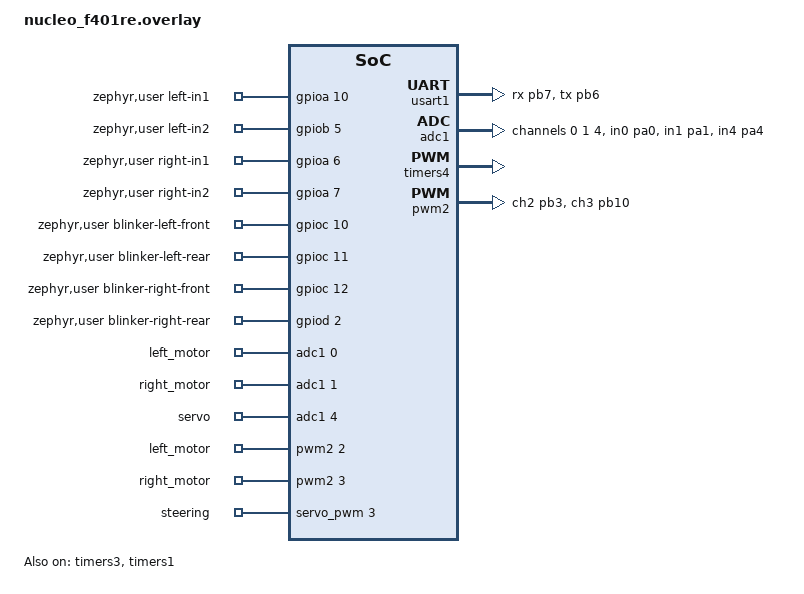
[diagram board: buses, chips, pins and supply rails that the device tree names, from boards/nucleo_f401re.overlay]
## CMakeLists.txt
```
# SPDX-License-Identifier: Apache-2.0

cmake_minimum_required(VERSION 3.28.0)

# Keep the course's programmer choice in source control for clean F401RE builds.
if(BOARD MATCHES "^nucleo_f401re($|/)")
  set(BOARD_FLASH_RUNNER stm32cubeprogrammer CACHE STRING "F401RE flash runner")
endif()

find_package(Zephyr REQUIRED HINTS $ENV{ZEPHYR_BASE})
project(lab2_sensors_actuators)

option(MOTOR_CALIBRATION "Build fixed-duty motor calibration firmware" OFF)
option(SERVO_CALIBRATION "Build manual servo calibration firmware" OFF)

if(MOTOR_CALIBRATION AND SERVO_CALIBRATION)
  message(FATAL_ERROR "Select only one calibration firmware")
endif()

target_sources(app PRIVATE src/motor_driver.c)
if(SERVO_CALIBRATION)
  target_include_directories(app PRIVATE src tools/servo_calibration)
  target_sources(app PRIVATE src/servo_driver.c tools/servo_calibration/servo_calibration.c)
elseif(MOTOR_CALIBRATION)
  target_include_directories(app PRIVATE src tools/motor_calibration)
  target_sources(app PRIVATE src/encoder.c tools/motor_calibration/motor_calibration.c)
else()
  target_sources(app PRIVATE src/encoder.c src/main.c src/motor_control.c src/blinker.c
                             src/status_tx.c src/servo_driver.c src/wheel_buttons.c)
endif()
```

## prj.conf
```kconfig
CONFIG_GPIO=y
CONFIG_SERIAL=y
CONFIG_UART_INTERRUPT_DRIVEN=y
CONFIG_SENSOR=y
CONFIG_PWM=y
CONFIG_MAIN_THREAD_PRIORITY=1
CONFIG_ADC=y

# Drain console output below the control threads instead of polling the UART
# inside cmd_handler. Never block a control thread when the log buffer is full.
CONFIG_LOG=y
CONFIG_LOG_MODE_DEFERRED=y
CONFIG_LOG_PRINTK=y
CONFIG_LOG_BACKEND_UART=y
CONFIG_LOG_BLOCK_IN_THREAD=n
CONFIG_LOG_BUFFER_SIZE=4096
CONFIG_LOG_PROCESS_THREAD_CUSTOM_PRIORITY=y
CONFIG_LOG_PROCESS_THREAD_PRIORITY=5
CONFIG_LOG_PROCESS_THREAD_SLEEP_MS=10
CONFIG_LOG_PROCESS_TRIGGER_THRESHOLD=1
```

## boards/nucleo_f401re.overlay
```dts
#include <zephyr/dt-bindings/adc/adc.h>

/*
 * Nucleo-F401RE overlay
 *
 * USART1 (Pi link) receives on PB7 only. PB6 (D10) drives right motor IN3.
 * USART1 TX can only be PB6 or PA9 on the F401, and PA9 is the right
 * encoder, so the status frame has no TX pin until one of them is freed.
 * Current sensors on ADC1: A0 = PA0 (left motor), A1 = PA1 (right motor),
 * A2 = PA4 (servo).
 * Encoders use two timers in quadrature-decoder mode:
 *   Left  encoder: TIM3, CH1 = PB4 (D5), CH2 = PC7 (D9)
 *   Right encoder: TIM1, CH1 = PA8 (D7), CH2 = PA9 (D8)
 */

/* Keep the Pi link's RX line idle-high when the cable is unplugged. */
&usart1 {
	pinctrl-0 = <&usart1_rx_pb7 &usart1_tx_pb6>;
};

&usart1_rx_pb7 {
	bias-pull-up;
};

&usart1_tx_pb6 {
	bias-pull-up;
};


/* Pull-ups on the encoder inputs, in case the encoder outputs are open-drain. */
&tim3_ch1_pb4 {
	bias-pull-up;
};

&tim3_ch2_pc7 {
	bias-pull-up;
};

&tim1_ch1_pa8 {
	bias-pull-up;
};

&tim1_ch2_pa9 {
	bias-pull-up;
};





&timers3 {
	status = "okay";

	qdec_left: qdec {
		status = "okay";
		pinctrl-0 = <&tim3_ch1_pb4 &tim3_ch2_pc7>;
		pinctrl-names = "default";
		st,encoder-mode = <0x3>;           /* x4: count every edge of A and B */
		st,input-filter-level = <10>;      /* reject glitches shorter than ~1 us */
		st,counts-per-revolution = <1316>; /* measured wheel average 1316.2, rounded */
	};
};

&timers1 {
	status = "okay";

	qdec_right: qdec {
		status = "okay";
		pinctrl-0 = <&tim1_ch1_pa8 &tim1_ch2_pa9>;
		pinctrl-names = "default";
		st,encoder-mode = <0x3>;
		st,input-filter-level = <10>;
		st,counts-per-revolution = <1316>; /* same measured average as left */
	};
};

/* Current sensors. Channel numbers match ADC1_IN0, IN1 and IN4. */
&adc1 {
	pinctrl-0 = <&adc1_in0_pa0 &adc1_in1_pa1 &adc1_in4_pa4>;
	pinctrl-names = "default";
	#address-cells = <1>;
	#size-cells = <0>;

	channel@0 {
		reg = <0>;
		zephyr,gain = "ADC_GAIN_1";
		zephyr,reference = "ADC_REF_INTERNAL";
		zephyr,acquisition-time = <ADC_ACQ_TIME(ADC_ACQ_TIME_TICKS, 84)>;
		zephyr,resolution = <12>;
	};

	channel@1 {
		reg = <1>;
		zephyr,gain = "ADC_GAIN_1";
		zephyr,reference = "ADC_REF_INTERNAL";
		zephyr,acquisition-time = <ADC_ACQ_TIME(ADC_ACQ_TIME_TICKS, 84)>;
		zephyr,resolution = <12>;
	};

	channel@4 {
		reg = <4>;
		zephyr,gain = "ADC_GAIN_1";
		zephyr,reference = "ADC_REF_INTERNAL";
		zephyr,acquisition-time = <ADC_ACQ_TIME(ADC_ACQ_TIME_TICKS, 84)>;
		zephyr,resolution = <12>;
	};
};

/* L298N enables: D3 = TIM2 CH2, D6 = TIM2 CH3. */
/* D15/PB8 is reserved for steering, not the board's default I2C1 clock. */
&i2c1 {
	status = "disabled";
};

&timers4 {
	status = "okay";
	st,prescaler = <83>; /* 84 MHz / 84 = 1 MHz; 20 ms fits 16 bits */
	servo_pwm: pwm {
		status = "okay";
		pinctrl-0 = <&tim4_ch3_pb8>;
		pinctrl-names = "default";
	};
};

&pwm2 {
	pinctrl-0 = <&tim2_ch2_pb3 &tim2_ch3_pb10>;
	pinctrl-names = "default";
};

/* L298N inputs: left D2/D4, right D11/D12. */
/ {
	zephyr,user {
		pwms = <&pwm2 2 PWM_MSEC(1) PWM_POLARITY_NORMAL>,
		       <&pwm2 3 PWM_MSEC(1) PWM_POLARITY_NORMAL>,
		       <&servo_pwm 3 PWM_MSEC(20) PWM_POLARITY_NORMAL>;
		pwm-names = "left_motor", "right_motor", "steering";
		left-in1-gpios = <&gpioa 10 GPIO_ACTIVE_HIGH>;
		left-in2-gpios = <&gpiob 5 GPIO_ACTIVE_HIGH>;
		right-in1-gpios = <&gpioa 6 GPIO_ACTIVE_HIGH>;
		right-in2-gpios = <&gpioa 7 GPIO_ACTIVE_HIGH>;
		/* Current sensors, in the order status_tx.c reports them. */
		io-channels = <&adc1 0>, <&adc1 1>, <&adc1 4>;
		io-channel-names = "left_motor", "right_motor", "servo";
		/* TODO: after confirming four unused wired pins, add all four: */
		blinker-left-front-gpios = <&gpioc 10 GPIO_ACTIVE_HIGH>;
		blinker-left-rear-gpios = <&gpioc 11 GPIO_ACTIVE_HIGH>;
		blinker-right-front-gpios = <&gpioc 12 GPIO_ACTIVE_HIGH>;
		blinker-right-rear-gpios = <&gpiod 2 GPIO_ACTIVE_HIGH>;
	};
};
```

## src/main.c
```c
#include <zephyr/kernel.h>
#include <string.h>
#include <zephyr/device.h>
#include <zephyr/drivers/uart.h>
#include <zephyr/sys/atomic.h>
#include <zephyr/sys/byteorder.h>

#include "blinker.h"
#include "config.h"
#include "crc8_checksum.h"
#include "motor_control.h"
#include "servo_driver.h"
#include "status_tx.h"
#include "wheel_buttons.h"

#define UART_DEVICE_NODE DT_NODELABEL(usart1)

/* One-slot queue: the newest complete command frame from the UART ISR. */
struct received_frame {
	int64_t received_ms;
	uint8_t data[FRAME_LEN];
};
K_MSGQ_DEFINE(frame_queue, sizeof(struct received_frame), UART_RX_QUEUE_DEPTH,
	      UART_RX_QUEUE_ALIGNMENT);
/* Serialize command outputs with fail-safe so timeout cannot be undone halfway
 * through applying a command. Motor priority 0 can still preempt both paths. */
K_MUTEX_DEFINE(command_lock);
static int64_t link_deadline_ms;
static uint8_t link_miss_count; /* 0..LINK_MISS_LIMIT; guarded by command_lock */
BUILD_ASSERT(LINK_MISS_INTERVAL_MS > 0);
BUILD_ASSERT(LINK_MISS_LIMIT > 0 && LINK_MISS_LIMIT <= UINT8_MAX);

/* Count elapsed intervals, not semaphore wakes: wakes may coalesce or belong
 * to an earlier command. Clamp before narrowing so the counter never wraps. */
static uint8_t link_misses_at(int64_t now_ms, int64_t deadline_ms)
{
	int64_t elapsed = now_ms - (deadline_ms - LINK_TIMEOUT_MS);
	return (uint8_t)CLAMP(elapsed / LINK_MISS_INTERVAL_MS, 0, LINK_MISS_LIMIT);
}
static const struct device *const uart_device = DEVICE_DT_GET(UART_DEVICE_NODE);

/* True while valid commands are arriving. Set by cmd_handler; cleared by
 * enter_error_state() from cmd_handler or fail_safe. */
static atomic_t link_ok = ATOMIC_INIT(0);   /* power up in the error state */

/* Decoded command from the Pi. */
struct pi_command {
	int16_t steer;
	int16_t throttle;
	int16_t brake;
	uint8_t buttons;
	uint8_t seq;
};

enum frame_result {
	FRAME_OK,
	FRAME_BAD_CRC,
	FRAME_OUT_OF_RANGE,
};

#define CHECK_INPUT_CLAMP(name) \
	BUILD_ASSERT(name##_CLAMP_MIN >= name##_RAW_MIN && \
		     name##_CLAMP_MAX <= name##_RAW_MAX && \
		     name##_CLAMP_MIN <= name##_CLAMP_MAX)
CHECK_INPUT_CLAMP(STEER);
CHECK_INPUT_CLAMP(THROTTLE);
CHECK_INPUT_CLAMP(BRAKE);
BUILD_ASSERT(THROTTLE_CLAMP_MIN <= THROTTLE_RAW_REST &&
	     THROTTLE_CLAMP_MAX >= THROTTLE_RAW_REST,
	     "Throttle clamp must include released pedal; otherwise release commands drive");
BUILD_ASSERT(INPUT_CLAMP_REPORT_MS > 0);

static uint8_t clamp_inputs(struct pi_command *command)
{
	struct pi_command raw = *command;
	command->steer = CLAMP(raw.steer, STEER_CLAMP_MIN, STEER_CLAMP_MAX);
	command->throttle = CLAMP(raw.throttle, THROTTLE_CLAMP_MIN, THROTTLE_CLAMP_MAX);
	command->brake = CLAMP(raw.brake, BRAKE_CLAMP_MIN, BRAKE_CLAMP_MAX);
	return (raw.steer != command->steer ? 1 : 0) |
	       (raw.throttle != command->throttle ? 2 : 0) |
	       (raw.brake != command->brake ? 4 : 0);
}

static void report_input_clamps(const struct pi_command *raw,
				const struct pi_command *applied, uint8_t mask)
{
	if (mask & 1) {
		printk("CLAMP: steering out of range: received=%d applied=%d allowed=[%d,%d]\n",
		       raw->steer, applied->steer, STEER_CLAMP_MIN, STEER_CLAMP_MAX);
	}
	if (mask & 2) {
		printk("CLAMP: throttle out of range: received=%d applied=%d allowed=[%d,%d]\n",
		       raw->throttle, applied->throttle, THROTTLE_CLAMP_MIN, THROTTLE_CLAMP_MAX);
	}
	if (mask & 4) {
		printk("CLAMP: brake out of range: received=%d applied=%d allowed=[%d,%d]\n",
		       raw->brake, applied->brake, BRAKE_CLAMP_MIN, BRAKE_CLAMP_MAX);
	}
}

/* Byte positions after the 4-byte header (SOF, ID_HI, ID_LO, DLC). */
enum {
	POS_STEER = 4,
	POS_THROTTLE = 6,
	POS_BRAKE = 8,
	POS_BUTTONS = 10,
	POS_SEQ = 11,
	POS_CRC = 12,
};

/* ---------------------------------------------------------------------------
 * Link watchdog (step 2)
 *
 * link_timer checks each missed interval from the reception timestamp of
 * each valid command. LINK_MISS_LIMIT consecutive misses trigger fail-safe.
 * The expiry function runs in interrupt
 * context, so it only gives a semaphore; fail_safe does the work.
 * ------------------------------------------------------------------------- */
K_SEM_DEFINE(failsafe_sem, 0, 1);

static void link_timer_expiry(struct k_timer *timer)
{
	ARG_UNUSED(timer);
	k_sem_give(&failsafe_sem);
}

K_TIMER_DEFINE(link_timer, link_timer_expiry, NULL);

/* Hazard-state outputs: the motor thread brakes on an invalid command,
 * steering PWM stops, hazards flash, and the status frame reports the error. */
static void apply_hazard_outputs(void)
{
	motor_control_submit((struct motor_command){0});   /* valid = false: brake */
	if (servo_driver_disable() != 0) {
		printk("ERROR: could not disable steering PWM\n");
	}
	blinker_set_mode(BLINKER_HAZARD);
	status_tx_set_zone_state(ZONE_STATE_ERROR);
}

/* Fail-safe: hazard outputs and link marked down. Returns true if the system
 * was in normal operation before this call. */
static bool enter_error_state(void)
{
	bool was_ok = atomic_clear(&link_ok) != 0;
	k_timer_stop(&link_timer);

	apply_hazard_outputs();
	return was_ok;
}

/* ---------------------------------------------------------------------------
 * Wheel buttons (Pi byte 10). Used only by cmd_handler.
 * ------------------------------------------------------------------------- */
static bool self_test;
static int64_t self_test_press_ms;   /* last press while in self-test; -1 = none */

/* A press enters self-test. Once in, two presses within
 * SELF_TEST_EXIT_WINDOW_MS exit; the entering press does not count. */
static void update_self_test(bool pressed)
{
	if (!pressed) {
		return;
	}

	int64_t now = k_uptime_get();

	if (!self_test) {
		self_test = true;
		self_test_press_ms = -1;
		apply_hazard_outputs();
		printk("SELF-TEST: hazards on, dynamic braking\n");
	} else if (self_test_press_ms >= 0 &&
		   now - self_test_press_ms <= SELF_TEST_EXIT_WINDOW_MS) {
		self_test = false;
		printk("SELF-TEST exit\n");
	} else {
		self_test_press_ms = now;
	}
}

/* UART ISR callback: assemble 13-byte command frames and push each complete
 * frame to frame_queue (newest wins). Header checks only; the CRC and value
 * checks run in cmd_handler. */
static void get_uart_frame(const struct device *device, void *user_data) {
	ARG_UNUSED(user_data);

	static uint8_t frame[FRAME_LEN];
	uint8_t c;
	static int n = 0;   /* bytes stored in the current frame */

	// start processing interrupt
	uart_irq_update(device);
	// Check if there are bytes in the receiving buffer
	if (uart_irq_rx_ready(device) <= 0) {
		return;
	}

	// Move bytes from buffer to frame
	while (uart_fifo_read(device, &c, 1) == 1) {
		if (n == 0 && c != UART_SOF) continue;
		frame[n++] = c;
		/* n was just incremented, so n == 2 checks frame[1], and so on. */
		if ((n == 2 && c != CMD_ID_HI) || (n == 3 && c != CMD_ID_LO) ||
		    (n == 4 && c != CMD_DLC)) {
			n = (c == UART_SOF) ? (frame[0] = c, 1) : 0;
			continue;
		}
		if (n == FRAME_LEN) {
			/* Keep only the newest frame: drop one cmd_handler has not taken. */
			if (k_msgq_num_free_get(&frame_queue) == 0) {
				struct received_frame discard;
				k_msgq_get(&frame_queue, &discard, K_NO_WAIT);
			}
			/* Cannot fail: the slot is free and no thread runs inside an ISR. */
			struct received_frame received = { .received_ms = k_uptime_get() };
			memcpy(received.data, frame, FRAME_LEN);
			(void)k_msgq_put(&frame_queue, &received, K_NO_WAIT);
			n = 0;
		}
	}
}

/* Helper fxn for cmd_handler thread. The ISR already checked the header. */
static enum frame_result parse_frame(const uint8_t f[FRAME_LEN], struct pi_command *out) {
	/* CRC covers bytes 1 to 11 (ID through SEQ), same as the Pi. */
	if (crc8(&f[1], FRAME_LEN - 2) != f[POS_CRC]) {
		return FRAME_BAD_CRC;
	}

	out->steer    = (int16_t)sys_get_le16(&f[POS_STEER]);
	out->throttle = (int16_t)sys_get_le16(&f[POS_THROTTLE]);
	out->brake    = (int16_t)sys_get_le16(&f[POS_BRAKE]);
	out->buttons  = f[POS_BUTTONS];
	out->seq      = f[POS_SEQ];

	if ((out->steer < STEER_RAW_MIN || out->steer > STEER_RAW_MAX) ||
		(out->throttle < THROTTLE_RAW_MIN || out->throttle > THROTTLE_RAW_MAX) ||
	    (out->brake < BRAKE_RAW_MIN || out->brake > BRAKE_RAW_MAX)) {
		return FRAME_OUT_OF_RANGE;
	}

	return FRAME_OK;
}

/* cmd_handler: one run per frame from the Pi (sporadic, deadline 2 ms). */
static void cmd_handler_entry(void *p1, void *p2, void *p3) {
	ARG_UNUSED(p1);
	ARG_UNUSED(p2);
	ARG_UNUSED(p3);

	int64_t last_print_ms = 0;
	int64_t last_clamp_report_ms = 0;
	uint8_t previous_clamp_mask = 0;
	uint32_t n_valid = 0, n_bad = 0;
	struct received_frame received;
	struct wheel_buttons buttons = {0};
	struct pi_command pi_cmd;

	while (1) {
		/* Sleep until the ISR delivers a frame. Link loss is detected by
		 * link_timer, so no timeout is needed here. */
		k_msgq_get(&frame_queue, &received, K_FOREVER);

		enum frame_result r = parse_frame(received.data, &pi_cmd);

		if (r == FRAME_BAD_CRC) {
			/* Corrupted on the wire: drop and count. A dead link is
			 * caught by link_timer, not by one bad frame. */
			n_bad++;
			continue;
		}
		/* Reject protocol-invalid values before any operational clamping. */
		struct pi_command raw_command = pi_cmd;
		uint8_t clamp_mask = r == FRAME_OK ? clamp_inputs(&pi_cmd) : 0;

		k_mutex_lock(&command_lock, K_FOREVER);
		int64_t deadline_ms = received.received_ms + LINK_TIMEOUT_MS;
		if (k_uptime_get() >= deadline_ms) {
			/* An old queued frame must never restart the watchdog or outputs. */
			n_bad++;
			k_timer_stop(&link_timer);
			enter_error_state();
			k_mutex_unlock(&command_lock);
			continue;
		}
		if (!atomic_get(&link_ok)) {
			/* Do not combine self-test exit clicks across a lost link. */
			self_test_press_ms = -1;
		}

		/* Debounced press edges for all three wheel buttons. */
		uint8_t pressed = 0;
		bool exited_self_test = false;

		if (r == FRAME_OK) {
			bool was_self_test = self_test;

			pressed = wheel_buttons_update(&buttons, pi_cmd.buttons, received.received_ms);
			update_self_test((pressed & BUTTON_SELF_TEST) != 0);
			exited_self_test = was_self_test && !self_test;
		}

		struct motor_command command = {
			.throttle = pi_cmd.throttle,
			.brake = pi_cmd.brake,
			.clutch = 0, /* byte 10 is buttons, not clutch */
			.valid = true,
		};

		/* Out-of-range values mean error state (R3). Short-circuit: a
		 * command that failed parse_frame is never submitted. In self-test
		 * the hazard outputs stay applied, so drive and steering are skipped. */
		if (r == FRAME_OUT_OF_RANGE ||
		    (!self_test && (!motor_control_submit(command) ||
				    servo_driver_set_steering(pi_cmd.steer) != 0))) {
			n_bad++;
			k_timer_stop(&link_timer);   /* already failed; no LINK LOST later */
			if (enter_error_state()) {
				printk("ERROR: invalid command or steering output failure, fail-safe\n");
			}
			k_mutex_unlock(&command_lock);
			continue;
		}

		/* Processing time must not extend the receive-to-fail-safe deadline. */
		int64_t now_ms = k_uptime_get();
		int64_t remaining_ms = deadline_ms - now_ms;
		if (remaining_ms <= 0) {
			k_timer_stop(&link_timer);
			enter_error_state();
			k_mutex_unlock(&command_lock);
			continue;
		}
		link_deadline_ms = deadline_ms;
		/* A fresh command resets the counter. Account for any intervals that
		 * elapsed during processing and align the next tick to reception. */
		link_miss_count = link_misses_at(now_ms, deadline_ms);
		int64_t next_tick_ms = LINK_MISS_INTERVAL_MS -
			(now_ms - received.received_ms) % LINK_MISS_INTERVAL_MS;
		k_timer_start(&link_timer, K_MSEC(next_tick_ms), K_MSEC(LINK_MISS_INTERVAL_MS));
		n_valid++;

		bool link_came_up = !atomic_set(&link_ok, 1);

		if (link_came_up) {
			printk("LINK UP\n");
		}
		if (!self_test) {
			if (link_came_up || exited_self_test) {
				/* Leaving the hazard state: start with no turn signal. */
				blinker_set_mode(BLINKER_OFF);
				status_tx_set_zone_state(ZONE_STATE_NORMAL);
			}
			blinker_update_turn(pressed, pi_cmd.steer);
		}
		k_mutex_unlock(&command_lock);

		/* Report after applying outputs and outside the command mutex. */
		int64_t report_ms = k_uptime_get();
		uint8_t cleared_mask = previous_clamp_mask & ~clamp_mask;
		if (cleared_mask & 1) {
			printk("CLAMP: steering back in range; clamp cleared\n");
		}
		if (cleared_mask & 2) {
			printk("CLAMP: throttle back in range; clamp cleared\n");
		}
		if (cleared_mask & 4) {
			printk("CLAMP: brake back in range; clamp cleared\n");
		}
		if (clamp_mask && (clamp_mask != previous_clamp_mask ||
		    report_ms - last_clamp_report_ms >= INPUT_CLAMP_REPORT_MS)) {
			report_input_clamps(&raw_command, &pi_cmd, clamp_mask);
			last_clamp_report_ms = report_ms;
		}
		previous_clamp_mask = clamp_mask;

		if (n_valid % PRINT_EVERY == 0) {
			printk("steer %6d  thr %6d  brk %6d  buttons %3u  seq %3u  bad %u\n",
			       raw_command.steer, raw_command.throttle, raw_command.brake,
			       (unsigned)pi_cmd.buttons, (unsigned)pi_cmd.seq,
			       (unsigned)n_bad);
		}

		if (k_uptime_get() - last_print_ms >= MAIN_PRINT_PERIOD_MS) {
			struct motor_telemetry telemetry;

			motor_control_get_telemetry(&telemetry);
			last_print_ms = k_uptime_get();
			printk("ENC L %8d %5d rpm | R %8d %5d rpm | target %3d duty %3d%% %s"
			       " | pwm L=%d R=%d\n",
			       (int)telemetry.left_position, (int)telemetry.left_rpm,
			       (int)telemetry.right_position, (int)telemetry.right_rpm,
			       (int)telemetry.target_rpm, (int)telemetry.duty_percent,
			       telemetry.reverse ? "REV" : "FWD",
			       (int)telemetry.left_duty_percent, (int)telemetry.right_duty_percent);
		}
	}
}

/* fail_safe: reception timeout configured by LINK_TIMEOUT_MS. */
static void fail_safe_entry(void *p1, void *p2, void *p3) {
	ARG_UNUSED(p1);
	ARG_UNUSED(p2);
	ARG_UNUSED(p3);

	while (1) {
		k_sem_take(&failsafe_sem, K_FOREVER);
		k_mutex_lock(&command_lock, K_FOREVER);
		/* A newer command may have renewed the deadline after the timer fired. */
		bool lost = false;
		if (atomic_get(&link_ok)) {
			link_miss_count = link_misses_at(k_uptime_get(), link_deadline_ms);
			lost = link_miss_count == LINK_MISS_LIMIT;
		}
		if (lost) {
			enter_error_state();
		}
		k_mutex_unlock(&command_lock);
		if (lost) {
			printk("LINK LOST (%d consecutive %d ms misses; %d ms total)\n",
			       LINK_MISS_LIMIT, LINK_MISS_INTERVAL_MS, LINK_TIMEOUT_MS);
		}
	}
}

K_THREAD_DEFINE(fail_safe_tid, FAIL_SAFE_STACK_SIZE, fail_safe_entry,
		NULL, NULL, NULL, FAIL_SAFE_PRIORITY, 0, 0);
K_THREAD_DEFINE(cmd_handler_tid, CMD_HANDLER_STACK_SIZE, cmd_handler_entry,
		NULL, NULL, NULL, CMD_HANDLER_PRIORITY, 0, CMD_HANDLER_START_DELAY_MS);

int main(void) {
	/* Power-up is an error state until a valid Pi command arrives. */
	blinker_set_mode(BLINKER_HAZARD);

	if (servo_driver_init() != 0) {
		printk("Steering PWM not ready, check overlay\n");
		return 0;
	}

	if (!device_is_ready(uart_device)) {
		printk("USART1 not ready, check overlay\n");
		return 0;
	}

	int ret = uart_irq_callback_user_data_set(uart_device, get_uart_frame, NULL);

	if (ret < 0) {
		printk("Error setting UART callback: %d\n", ret);
		return 0;
	}

	uart_irq_rx_enable(uart_device);
	printk("CRC self-test: 0x%02x (expect 0xf4)\n", crc8((const uint8_t *)"123456789", 9));
	printk("Waiting for commands (link DOWN)\n");

	return 0;
}
```

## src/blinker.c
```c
#include <zephyr/kernel.h>
#include <zephyr/device.h>
#include <zephyr/drivers/gpio.h>

#include "blinker.h"
#include "config.h"

#define BLINKER_NODE DT_PATH(zephyr_user)

/* Fail the build, rather than run without LEDs, if a property is missing or
 * misspelled in the board overlay. */
BUILD_ASSERT(DT_NODE_HAS_PROP(BLINKER_NODE, blinker_left_front_gpios) &&
	     DT_NODE_HAS_PROP(BLINKER_NODE, blinker_left_rear_gpios) &&
	     DT_NODE_HAS_PROP(BLINKER_NODE, blinker_right_front_gpios) &&
	     DT_NODE_HAS_PROP(BLINKER_NODE, blinker_right_rear_gpios),
	     "Define all four blinker-*-gpios properties in the board overlay");

static const struct gpio_dt_spec left_front =
	GPIO_DT_SPEC_GET(BLINKER_NODE, blinker_left_front_gpios);
static const struct gpio_dt_spec left_rear =
	GPIO_DT_SPEC_GET(BLINKER_NODE, blinker_left_rear_gpios);
static const struct gpio_dt_spec right_front =
	GPIO_DT_SPEC_GET(BLINKER_NODE, blinker_right_front_gpios);
static const struct gpio_dt_spec right_rear =
	GPIO_DT_SPEC_GET(BLINKER_NODE, blinker_right_rear_gpios);

static K_MUTEX_DEFINE(state_lock);
static enum blinker_mode requested_mode;
static uint32_t generation;
static bool phase_on;
static bool turn_seen;

enum blinker_mode blinker_get_mode(void)
{
	k_mutex_lock(&state_lock, K_FOREVER);
	enum blinker_mode mode = requested_mode;
	k_mutex_unlock(&state_lock);
	return mode;
}

BUILD_ASSERT(BLINKER_TURN_THRESHOLD > STEER_DEAD_ZONE &&
	     BLINKER_TURN_THRESHOLD <= STEER_RAW_MAX &&
	     BLINKER_TURN_THRESHOLD <= -STEER_RAW_MIN);
K_SEM_DEFINE(blinker_wake, 0, 1);

static void blinker_tick(struct k_timer *timer)
{
	ARG_UNUSED(timer);
	k_sem_give(&blinker_wake);
}

K_TIMER_DEFINE(blinker_timer, blinker_tick, NULL);

/* Caller holds state_lock so fail-safe hazards cannot be overwritten by
 * a cancellation based on an older mode. Timer operations do not wait. */
static void set_mode_locked(enum blinker_mode mode)
{
	if (requested_mode == mode) {
		return;
	}
	requested_mode = mode;
	turn_seen = false;
	generation++;
	phase_on = mode != BLINKER_OFF;
	k_timer_stop(&blinker_timer);
	if (mode != BLINKER_OFF) {
		int32_t half_period = mode == BLINKER_HAZARD ?
			HAZARD_HALF_PERIOD_MS : TURN_HALF_PERIOD_MS;
		k_timer_start(&blinker_timer, K_MSEC(half_period), K_MSEC(half_period));
	}
	k_sem_give(&blinker_wake);
}

void blinker_set_mode(enum blinker_mode mode)
{
	if (mode < BLINKER_OFF || mode > BLINKER_HAZARD) {
		return;
	}
	k_mutex_lock(&state_lock, K_FOREVER);
	set_mode_locked(mode);
	k_mutex_unlock(&state_lock);
}

void blinker_update_turn(uint8_t pressed, int16_t steering)
{
	k_mutex_lock(&state_lock, K_FOREVER);

	/* Hazards belong to self-test/fail-safe, never to steering cancellation. */
	if (requested_mode == BLINKER_HAZARD) {
		k_mutex_unlock(&state_lock);
		return;
	}
	switch (pressed & (BUTTON_LEFT | BUTTON_RIGHT)) {
	case BUTTON_LEFT:
		set_mode_locked(requested_mode == BLINKER_LEFT ? BLINKER_OFF : BLINKER_LEFT);
		break;
	case BUTTON_RIGHT:
		set_mode_locked(requested_mode == BLINKER_RIGHT ? BLINKER_OFF : BLINKER_RIGHT);
		break;
	default:
		break; /* simultaneous presses do not change the selected side */
	}

	/* Negative input is left. First observe a turn in the selected direction,
	 * then cancel upon reaching or crossing neutral (including skipped samples). */
	if (requested_mode == BLINKER_LEFT) {
		if (steering <= -BLINKER_TURN_THRESHOLD) {
			turn_seen = true;
		} else if (turn_seen && steering >= -STEER_DEAD_ZONE) {
			set_mode_locked(BLINKER_OFF);
		}
	} else if (requested_mode == BLINKER_RIGHT) {
		if (steering >= BLINKER_TURN_THRESHOLD) {
			turn_seen = true;
		} else if (turn_seen && steering <= STEER_DEAD_ZONE) {
			set_mode_locked(BLINKER_OFF);
		}
	}
	k_mutex_unlock(&state_lock);
}

static int configure_pins(void)
{
	const struct gpio_dt_spec *pins[] = {
		&left_front, &left_rear, &right_front, &right_rear
	};

	for (size_t i = 0; i < ARRAY_SIZE(pins); i++) {
		if (!gpio_is_ready_dt(pins[i]) ||
		    gpio_pin_configure_dt(pins[i], GPIO_OUTPUT_INACTIVE) != 0) {
			return -ENODEV;
		}
	}
	return 0;
}

static int write_pins(enum blinker_mode mode, bool on)
{
	bool left = on && (mode == BLINKER_LEFT || mode == BLINKER_HAZARD);
	bool right = on && (mode == BLINKER_RIGHT || mode == BLINKER_HAZARD);
	int rc = gpio_pin_set_dt(&left_front, left);

	rc |= gpio_pin_set_dt(&left_rear, left);
	rc |= gpio_pin_set_dt(&right_front, right);
	rc |= gpio_pin_set_dt(&right_rear, right);
	return rc;
}

static void blinker_thread(void *p1, void *p2, void *p3)
{
	ARG_UNUSED(p1);
	ARG_UNUSED(p2);
	ARG_UNUSED(p3);

	if (configure_pins() != 0) {
		printk("Blinker GPIO setup failed\n");
		return;
	}

	uint32_t seen_generation = UINT32_MAX;

	while (1) {
		k_sem_take(&blinker_wake, K_FOREVER);
		uint32_t ticks = k_timer_status_get(&blinker_timer);
		k_mutex_lock(&state_lock, K_FOREVER);
		enum blinker_mode mode = requested_mode;

		if (seen_generation != generation) {
			seen_generation = generation;
		} else if (mode != BLINKER_OFF && (ticks & 1U) != 0) {
			phase_on = !phase_on;
		}
		bool on = phase_on;
		k_mutex_unlock(&state_lock);

		if (write_pins(mode, on) != 0) {
			printk("Blinker GPIO write failed\n");
			return;
		}
	}
}

/* Lower priority than the motor thread; no delay loop or GPIO work in an ISR. */
K_THREAD_DEFINE(blinker_tid, BLINKER_STACK_SIZE, blinker_thread,
		NULL, NULL, NULL, BLINKER_PRIORITY, 0, 0);
```

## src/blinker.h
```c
#ifndef BLINKER_H_
#define BLINKER_H_

#include <stdint.h>

enum blinker_mode {
	BLINKER_OFF,
	BLINKER_LEFT,
	BLINKER_RIGHT,
	BLINKER_HAZARD,
};

/* Nonblocking: updates the requested mode and wakes the blinker thread. */
void blinker_set_mode(enum blinker_mode mode);

/* Call for each valid normal-operation command, using button press edges.
 * Toggle a side, then cancel after a same-direction turn returns to neutral. */
void blinker_update_turn(uint8_t pressed, int16_t steering);
/* Requested mode, independent of the on/off phase within the blink cycle. */
enum blinker_mode blinker_get_mode(void);

#endif
```

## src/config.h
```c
#ifndef APP_CONFIG_H_
#define APP_CONFIG_H_

/* Shared and normal-firmware settings. Calibration-only settings live under
 * tools/motor_calibration/. Physical pins, PWM periods, and encoder counts
 * per revolution belong in boards/nucleo_f401re.overlay; Zephyr driver options
 * belong in prj.conf. Keep UART frame settings in sync with the Pi sender. */

/* Pi-to-Nucleo UART packet and link supervision. */
#define UART_SOF                0xA5
#define FRAME_LEN               13  /* SOF + ID(2) + DLC + data(8) + CRC */
#define CMD_ID_HI               0x01
#define CMD_ID_LO               0x00
#define CMD_DLC                 8
#define CRC8_POLYNOMIAL         0x07
#define CRC8_INITIAL            0x00
#define UART_RX_QUEUE_DEPTH     1   /* frames, not bytes: keep only the newest */
#define UART_RX_QUEUE_ALIGNMENT 4   /* queue contains frame plus reception timestamp */
/* Requested test policy: three consecutive 150 ms misses, then fail-safe.
 * This is not the handout's literal 100 ms cable-unplug checkoff timing. */
#define LINK_MISS_INTERVAL_MS    150
#define LINK_MISS_LIMIT          3
#define LINK_TIMEOUT_MS          (LINK_MISS_INTERVAL_MS * LINK_MISS_LIMIT)
#define LINK_FAILSAFE_RESPONSE_BUDGET_MS 100 /* measurement budget, not a delay */
#define PRINT_EVERY             10  /* valid frames */
#define MAIN_PRINT_PERIOD_MS    100
#define USB_STATUS_PERIOD_MS    100 /* continuous summary, even with Pi link down */

/* Encoder and motor scheduling. */
#define ENC_PERIOD_MS           10
/* Allow the integral alone to reach full effort; keep its storage bounded.
 * Derive the bound from Ki so lowering Ki cannot silently lower max PWM. */
#define MOTOR_INTEGRAL_LIMIT_RPM_MS \
	(MOTOR_MAX_DUTY_PERCENT * 1000000LL / \
	 (MOTOR_KI_MILLI_PERCENT_PER_RPM_S > 0 ? MOTOR_KI_MILLI_PERCENT_PER_RPM_S : 1))

/* Pi byte 10 button bits from the steering wheel, 1 while held. Byte 10 has
 * only 8 bits, so the Pi packs wheel button indices 10/5/4 into bits 0/1/2.
 * A press is a 0 -> 1 change between valid frames.
 * Self-test: one press enters hazards + dynamic braking; two presses within
 * SELF_TEST_EXIT_WINDOW_MS (after entering) exit. Left/right toggle turns. */
#define BUTTON_SELF_TEST        (1U << 0)   /* wheel button index 10 */
#define BUTTON_LEFT             (1U << 1)   /* wheel button index 5 */
#define BUTTON_RIGHT            (1U << 2)   /* wheel button index 4 */
#define SELF_TEST_EXIT_WINDOW_MS 500
#define BUTTON_DEBOUNCE_MS       30 /* observed release interval before another press */

/* Blinker timing and thread. Half-periods give 1 Hz turns and 2 Hz hazards. */
#define TURN_HALF_PERIOD_MS     500
#define HAZARD_HALF_PERIOD_MS   250
/* Arm 500 counts beyond neutral; cancel on return to the dead zone. */
#define BLINKER_TURN_MARGIN     500
#define BLINKER_TURN_THRESHOLD (STEER_DEAD_ZONE + BLINKER_TURN_MARGIN)

/* Thread priorities and stacks: the Part 4 task table.
 * Zephyr: lower number = higher priority; all are preemptive.
 * The motor thread sits above cmd_handler so a submitted brake or throttle
 * command is applied before cmd_handler continues (2 ms path, R2.1/R2.2). */
#define MOTOR_PRIORITY          0   /* 10 ms PID + immediate step per command */
#define FAIL_SAFE_PRIORITY      1   /* wakes only on link_timer expiry */
#define CMD_HANDLER_PRIORITY    2   /* one run per valid frame from the Pi */
#define STATUS_TX_PRIORITY      3   /* 20 ms status frame */
#define BLINKER_PRIORITY        4   /* partner's blinker thread */
#define MOTOR_STACK_SIZE        2048
#define FAIL_SAFE_STACK_SIZE    1024
#define CMD_HANDLER_STACK_SIZE  2048
#define STATUS_TX_STACK_SIZE    1024
#define BLINKER_STACK_SIZE      1024
#define CMD_HANDLER_START_DELAY_MS 0

/* STM32-to-Pi status frame: same 13-byte layout as the command frame, with
 * ID 0x200. Data = three current-sensor readings (mV, uint16 LE), zone state,
 * sequence counter. Readings are millivolts until the sensor scale is known. */
#define STATUS_PERIOD_MS        20  /* R4.5 substitute: 20 ms +/- 10% */
#define STATUS_ID_HI            0x02
#define STATUS_ID_LO            0x00
#define STATUS_DLC              8
#define STATUS_ADC_SAMPLES      8   /* averaged per channel per frame */
#define STATUS_CURRENT_INVALID  0xFFFF
/* Nominal ACS712-05B, 5 V supply, direct output (no divider).
 * Assumes all three channels use this variant. Replace zero offsets with
 * measured no-current voltages; these constants do not change ADC limits. */
#define CURRENT_LEFT_ZERO_MV       2500
#define CURRENT_RIGHT_ZERO_MV      2500
#define CURRENT_SERVO_ZERO_MV      2500
#define CURRENT_LEFT_MV_PER_AMP     185
#define CURRENT_RIGHT_MV_PER_AMP    185
#define CURRENT_SERVO_MV_PER_AMP    185
/* 0 until USART1 has a TX pin: PB6 drives right motor IN3 and PA9 is the
 * right encoder. While 0, frames are built but not sent, and readings are
 * printed once per STATUS_PRINT_EVERY frames instead. */
#define STATUS_TX_ENABLED       1
#define STATUS_PRINT_EVERY      50

/* Pi pedal fields are 16-bit little-endian values. Throttle uses 0..32767;
 * measured brake endpoints are 30454 released and 32767 fully pressed.
 * Negative readings are rejected.
 * Byte 10 carries the wheel buttons (BUTTON_* above), not clutch.
 */
#define STEER_RAW_MIN         -32767
#define STEER_RAW_MAX          32766
#define STEER_DEAD_ZONE          500 /* inclusive -500..500 commands center */
/* LD-1501MG: negative steering -> LEFT, positive -> RIGHT.
 * Swap LEFT/RIGHT pulse widths if the linkage direction is reversed. */
#define SERVO_PULSE_MIN_US       500
#define SERVO_PULSE_MAX_US      2500
#define SERVO_LEFT_US          1000
#define SERVO_CENTER_US        1500
#define SERVO_RIGHT_US         2000
#define THROTTLE_RAW_MIN           0
#define THROTTLE_RAW_MAX       32767
#define THROTTLE_RAW_REST          0
#define THROTTLE_RAW_FULL      32767
#define THROTTLE_ZERO_PERCENT    1U  /* ignore the first 1% of travel */
#define BRAKE_RAW_MIN              0  /* valid Pi range; rest may drift below 30454 */
#define BRAKE_RAW_MAX          32767
#define BRAKE_RAW_REST         30454  /* measured reference, not a validity limit */
#define BRAKE_PRESSED_AT       31610  /* midpoint of measured pedal range */
#define BRAKE_PRESSED_HIGH        1   /* use 0 if values fall when pressed */
#define CLUTCH_RAW_MIN            0U
#define CLUTCH_RAW_MAX          255U
#define CLUTCH_PRESSED_AT       128U
#define CLUTCH_PRESSED_HIGH       1   /* use 0 if values fall when pressed */
#define CLUTCH_CONTROL_ENABLED    0   /* forward only until Pi sends clutch */

/* Operational input clamps, independent of RAW validity/calibration ranges.
 * Example: THROTTLE_CLAMP_MAX=10000 limits the target on the ORIGINAL scale.
 * Clamped commands remain valid; telemetry reports the received/applied values.
 * Brake clamping also changes what reaches BRAKE_PRESSED_AT. */
#define STEER_CLAMP_MIN          STEER_RAW_MIN
#define STEER_CLAMP_MAX          STEER_RAW_MAX
#define THROTTLE_CLAMP_MIN       THROTTLE_RAW_MIN /* must include released pedal */
#define THROTTLE_CLAMP_MAX       THROTTLE_RAW_MAX 
#define BRAKE_CLAMP_MIN          BRAKE_RAW_MIN
#define BRAKE_CLAMP_MAX          BRAKE_RAW_MAX
#define INPUT_CLAMP_REPORT_MS    USB_STATUS_PERIOD_MS

/* Allow the controller to command the full PWM range. */
#define MOTOR_OUTPUTS_ENABLED     1
#define MOTOR_MAX_DUTY_PERCENT  100
/* Normal controller only: positive output maps into 20..100% actual PWM.
 * Zero still stops; calibration commands remain direct duty percentages. */
#define MOTOR_DUTY_OFFSET_PERCENT 20

/* Wheel-up 100% PWM average, corrected from 3960 to 1316 counts/revolution:
 * ((106.33 + 104.80) / 2) * 3960 / 1316 = approximately 317 RPM.
 * This is the estimated unloaded hardware maximum, not the control target.
 * Limit the requested speed to 200 RPM to leave headroom for load correction;
 * PID remains active at full throttle and may command up to 100% PWM. */
#define MOTOR_MAX_RPM           200
#define MOTOR_SHIFT_MAX_RPM       5

/* Output duty is a whole percent; feedback retains thousandths internally. */
/* Gain units: thousandths of effort-percent (150 means 0.15). */
#define MOTOR_KP_MILLI_PERCENT_PER_RPM   450
#define MOTOR_KI_MILLI_PERCENT_PER_RPM_S 600
#define MOTOR_KD_MILLI_PERCENT_S_PER_RPM 20
#define MOTOR_D_FILTER_MS               50

/* Set each polarity after a brief, wheel-up test. */
#define LEFT_FORWARD_IN1_HIGH    1
#define RIGHT_FORWARD_IN1_HIGH   1

#endif
```

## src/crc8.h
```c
#ifndef CRC8_H_
#define CRC8_H_

#include <stddef.h>
#include <stdint.h>

#include "config.h"

/* CRC-8 (poly CRC8_POLYNOMIAL, init CRC8_INITIAL), identical to the Pi's.
 * Shared by the command parser and the status frame builder. */
static inline uint8_t crc8(const uint8_t *buf, size_t len)
{
	uint8_t crc = CRC8_INITIAL;

	for (size_t i = 0; i < len; i++) {
		crc ^= buf[i];
		for (int b = 0; b < 8; b++) {
			crc = (crc & 0x80) ? (uint8_t)((crc << 1) ^ CRC8_POLYNOMIAL)
					   : (uint8_t)(crc << 1);
		}
	}
	return crc;
}

#endif
```

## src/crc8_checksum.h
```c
#ifndef CRC8_CHECKSUM_H_
#define CRC8_CHECKSUM_H_

#include <stddef.h>
#include <stdint.h>

#include "config.h"

/* CRC-8 (poly CRC8_POLYNOMIAL, init CRC8_INITIAL), identical to the Pi's.
 * Shared by the command parser and the status frame builder. */
static inline uint8_t crc8(const uint8_t *buf, size_t len)
{
	uint8_t crc = CRC8_INITIAL;

	for (size_t i = 0; i < len; i++) {
		crc ^= buf[i];
		for (int b = 0; b < 8; b++) {
			crc = (crc & 0x80) ? (uint8_t)((crc << 1) ^ CRC8_POLYNOMIAL)
					   : (uint8_t)(crc << 1);
		}
	}
	return crc;
}

#endif
```

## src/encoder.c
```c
#include <zephyr/kernel.h>
#include <zephyr/device.h>
#include <zephyr/drivers/sensor.h>

#include "config.h"
#include "encoder.h"

/* Hardware timers count both encoders in quadrature (x4) mode.
 * This module samples the counters and calculates wheel velocity. */

#define QDEC_LEFT_NODE   DT_NODELABEL(qdec_left)
#define QDEC_RIGHT_NODE  DT_NODELABEL(qdec_right)

/* The STM32 qdec driver makes the 16-bit counter wrap at the largest
 * multiple of counts-per-revolution that fits: 65535 - (65535 % cpr).
 * We need the same number to undo the wrap. */
#define ENC_MODULUS(cpr) (65535 - (65535 % (cpr)))

struct encoder {
	const char *name;
	const struct device *device;
	int32_t cpr;        /* counts per wheel revolution (from devicetree) */
	int32_t modulus;    /* counter wraps back to 0 at this value */
	int32_t last_raw;   /* counter value at the previous sample */
	int32_t position;   /* accumulated counts since boot */
	int32_t delta;      /* counts during the most recent period */
};

static struct encoder enc_left = {
	.name = "L",
	.device = DEVICE_DT_GET(QDEC_LEFT_NODE),
	.cpr = DT_PROP(QDEC_LEFT_NODE, st_counts_per_revolution),
	.modulus = ENC_MODULUS(DT_PROP(QDEC_LEFT_NODE, st_counts_per_revolution)),
};

static struct encoder enc_right = {
	.name = "R",
	.device = DEVICE_DT_GET(QDEC_RIGHT_NODE),
	.cpr = DT_PROP(QDEC_RIGHT_NODE, st_counts_per_revolution),
	.modulus = ENC_MODULUS(DT_PROP(QDEC_RIGHT_NODE, st_counts_per_revolution)),
};


static int encoder_read_raw(const struct encoder *e, int32_t *raw) /* Read the raw hardware counter through the sensor API. */
{
	struct sensor_value v;
	int rc = sensor_sample_fetch_chan(e->device, SENSOR_CHAN_ENCODER_COUNT);

	if (rc == 0) {
		rc = sensor_channel_get(e->device, SENSOR_CHAN_ENCODER_COUNT, &v);
	}
	if (rc == 0) {
		*raw = v.val1;
	}
	return rc;
}


static int encoder_update(struct encoder *e) /* Sample one encoder: change since last sample, with wraparound undone. */
{
	int32_t raw;

	if (encoder_read_raw(e, &raw) != 0) {
		return -EIO;
	}

	int32_t d = raw - e->last_raw;

	/* A jump of more than half the counter range means it wrapped. */
	if (d > e->modulus / 2) {
		d -= e->modulus;
	} else if (d < -(e->modulus / 2)) {
		d += e->modulus;
	}

	e->last_raw = raw;
	e->delta = d;
	e->position += d;
	return 0;
}


static int32_t counts_to_rpm(int32_t counts, int32_t cpr, int32_t window_ms) /* Wheel speed in rpm over a window of `counts` taken in `window_ms`. */
{
	return (int32_t)((int64_t)counts * 60000 / ((int64_t)cpr * window_ms));
}


int encoder_init(void)
{
	struct encoder *encs[] = { &enc_left, &enc_right };

	for (size_t i = 0; i < ARRAY_SIZE(encs); i++) {
		if (!device_is_ready(encs[i]->device) ||
		    encoder_read_raw(encs[i], &encs[i]->last_raw) != 0) {
			printk("Encoder %s not ready, check overlay\n", encs[i]->name);
			return -ENODEV;
		}
	}
	printk("Encoders ready (cpr L=%d R=%d, period %d ms)\n",
	       (int)enc_left.cpr, (int)enc_right.cpr, ENC_PERIOD_MS);
	return 0;
}

int encoder_sample(int32_t elapsed_ms, struct encoder_sample *sample)
{
	if (elapsed_ms <= 0 || encoder_update(&enc_left) != 0 ||
	    encoder_update(&enc_right) != 0) {
		return -EIO;
	}

	*sample = (struct encoder_sample) {
		.left_position = enc_left.position,
		.right_position = enc_right.position,
		.left_rpm = counts_to_rpm(enc_left.delta, enc_left.cpr, elapsed_ms),
		.right_rpm = counts_to_rpm(enc_right.delta, enc_right.cpr, elapsed_ms),
	};
	return 0;
}
```

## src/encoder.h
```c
#ifndef ENCODER_H_
#define ENCODER_H_

#include <stdint.h>

struct encoder_sample {
	int32_t left_position;
	int32_t right_position;
	int32_t left_rpm;
	int32_t right_rpm;
};

int encoder_init(void);
int encoder_sample(int32_t elapsed_ms, struct encoder_sample *sample);

#endif
```

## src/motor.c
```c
#include <zephyr/kernel.h>
#include <zephyr/device.h>
#include <zephyr/drivers/gpio.h>
#include <zephyr/drivers/pwm.h>

#include "encoder.h"
#include "motor.h"
#include "motor_config.h"

/* L298N outputs and closed-loop control live together in this module. */
#define MOTOR_NODE DT_PATH(zephyr_user)

static const struct pwm_dt_spec left_pwm = PWM_DT_SPEC_GET_BY_IDX(MOTOR_NODE, 0);
static const struct pwm_dt_spec right_pwm = PWM_DT_SPEC_GET_BY_IDX(MOTOR_NODE, 1);
static const struct gpio_dt_spec left_in1 = GPIO_DT_SPEC_GET(MOTOR_NODE, left_in1_gpios);
static const struct gpio_dt_spec left_in2 = GPIO_DT_SPEC_GET(MOTOR_NODE, left_in2_gpios);
static const struct gpio_dt_spec right_in1 = GPIO_DT_SPEC_GET(MOTOR_NODE, right_in1_gpios);
static const struct gpio_dt_spec right_in2 = GPIO_DT_SPEC_GET(MOTOR_NODE, right_in2_gpios);

static struct k_spinlock motor_lock;
static struct motor_command latest_command;
static struct motor_telemetry latest_telemetry;
static uint32_t command_generation;
static bool drive_active;
static bool drive_reverse;
K_SEM_DEFINE(motor_wake, 0, 1);

bool motor_submit(struct motor_command command)
{
	bool accepted = command.valid &&
		command.throttle >= THROTTLE_RAW_MIN &&
		command.throttle <= THROTTLE_RAW_MAX &&
		command.brake >= BRAKE_RAW_MIN &&
		command.brake <= BRAKE_RAW_MAX &&
		command.clutch >= CLUTCH_RAW_MIN &&
		command.clutch <= CLUTCH_RAW_MAX;

	if (!accepted) {
		command = (struct motor_command) { 0 };
	}

	k_spinlock_key_t key = k_spin_lock(&motor_lock);

	latest_command = command;
	command_generation++;
	k_spin_unlock(&motor_lock, key);
	k_sem_give(&motor_wake);
	return accepted;
}


void motor_get_telemetry(struct motor_telemetry *telemetry)
{
	k_spinlock_key_t key = k_spin_lock(&motor_lock);

	*telemetry = latest_telemetry;
	k_spin_unlock(&motor_lock, key);
}

static int motor_brake(void)
{
	/* L298N: EN high with both inputs equal gives dynamic braking.
	 * EN low would let the wheel coast, so "PWM disabled" means constant high.
	 */
	drive_active = false;
	int rc = gpio_pin_set_dt(&left_in1, 0);

	rc |= gpio_pin_set_dt(&left_in2, 0);
	rc |= gpio_pin_set_dt(&right_in1, 0);
	rc |= gpio_pin_set_dt(&right_in2, 0);
	rc |= pwm_set_pulse_dt(&left_pwm, left_pwm.period);
	rc |= pwm_set_pulse_dt(&right_pwm, right_pwm.period);
	return rc;
}

static int motor_drive(bool reverse, int32_t duty_permille)
{
	int left_forward = LEFT_FORWARD_IN1_HIGH;
	int right_forward = RIGHT_FORWARD_IN1_HIGH;

	if (reverse) {
		left_forward = !left_forward;
		right_forward = !right_forward;
	}

	int rc = 0;

	if (!drive_active || drive_reverse != reverse) {
		/* Disable enables before a direction change. */
		rc = pwm_set_pulse_dt(&left_pwm, 0);
		rc |= pwm_set_pulse_dt(&right_pwm, 0);
		rc |= gpio_pin_set_dt(&left_in1, left_forward);
		rc |= gpio_pin_set_dt(&left_in2, !left_forward);
		rc |= gpio_pin_set_dt(&right_in1, right_forward);
		rc |= gpio_pin_set_dt(&right_in2, !right_forward);
		if (rc != 0) {
			return rc;
		}
	}

	uint32_t left_pulse = (uint32_t)((uint64_t)left_pwm.period * duty_permille / 1000);
	uint32_t right_pulse = (uint32_t)((uint64_t)right_pwm.period * duty_permille / 1000);

	rc = pwm_set_pulse_dt(&left_pwm, left_pulse);
	rc |= pwm_set_pulse_dt(&right_pwm, right_pulse);
	if (rc == 0) {
		drive_active = true;
		drive_reverse = reverse;
	}
	return rc;
}

static bool motor_hardware_ready(void)
{
	const struct gpio_dt_spec *pins[] = {
		&left_in1, &left_in2, &right_in1, &right_in2
	};

	if (!pwm_is_ready_dt(&left_pwm) || !pwm_is_ready_dt(&right_pwm)) {
		return false;
	}
	for (size_t i = 0; i < ARRAY_SIZE(pins); i++) {
		if (!gpio_is_ready_dt(pins[i]) ||
		    gpio_pin_configure_dt(pins[i], GPIO_OUTPUT_INACTIVE) != 0) {
			return false;
		}
	}
	return motor_brake() == 0;
}

static int32_t clamp_duty(int64_t duty)
{
	if (duty < 0) {
		return 0;
	}
	if (duty > 1000) {
		return 1000;
	}
	return (int32_t)duty;
}

static int32_t rpm_magnitude(int32_t rpm)
{
	return rpm < 0 ? -rpm : rpm;
}

/* Convert either increasing or decreasing throttle readings to 0..1000. */
static int32_t throttle_permille(uint16_t raw)
{
	int32_t travel = (int32_t)THROTTLE_RAW_FULL - THROTTLE_RAW_REST;
	int32_t moved = (int32_t)raw - THROTTLE_RAW_REST;

	if (travel < 0) {
		travel = -travel;
		moved = -moved;
	}
	return CLAMP(moved * 1000 / travel, 0, 1000);
}

static bool pedal_pressed(uint16_t raw, uint16_t threshold, bool pressed_high)
{
	return pressed_high ? raw >= threshold : raw <= threshold;
}

BUILD_ASSERT(THROTTLE_RAW_REST != THROTTLE_RAW_FULL);
BUILD_ASSERT(THROTTLE_RAW_MIN <= THROTTLE_RAW_REST &&
	     THROTTLE_RAW_REST <= THROTTLE_RAW_MAX);
BUILD_ASSERT(THROTTLE_RAW_MIN <= THROTTLE_RAW_FULL &&
	     THROTTLE_RAW_FULL <= THROTTLE_RAW_MAX);
BUILD_ASSERT(BRAKE_RAW_MIN <= BRAKE_PRESSED_AT &&
	     BRAKE_PRESSED_AT <= BRAKE_RAW_MAX);
BUILD_ASSERT(CLUTCH_RAW_MIN <= CLUTCH_PRESSED_AT &&
	     CLUTCH_PRESSED_AT <= CLUTCH_RAW_MAX);

static void control_tick(struct k_timer *timer)
{
	ARG_UNUSED(timer);
	k_sem_give(&motor_wake);
}

K_TIMER_DEFINE(control_timer, control_tick, NULL);


static void motor_thread(void *p1, void *p2, void *p3)
{
	ARG_UNUSED(p1);
	ARG_UNUSED(p2);
	ARG_UNUSED(p3);

	struct encoder_sample sample = { 0 };
	struct motor_command command = { 0 };
	uint32_t seen_generation = 0;
	int64_t last_sample_ms = k_uptime_get();
	int64_t integral_rpm_ms = 0;
	int32_t previous_error = 0;
	int32_t left_rpm = 0, right_rpm = 0, target_rpm = 0, duty = 0;
	bool reverse = false, clutch_was_pressed = false, motor_fault = false;
	bool sensors_healthy = true;
	bool hardware_ok = motor_hardware_ready();

	if (!hardware_ok) {
		printk("Motor hardware not ready, check overlay\n");
		return;
	}

	if (encoder_init() != 0) {
		return;
	}

	/* A periodic kernel timer gives a fixed period that does not drift,
	 * unlike k_sleep() after each iteration. */
	k_timer_start(&control_timer, K_MSEC(ENC_PERIOD_MS), K_MSEC(ENC_PERIOD_MS));

	while (1) {
		k_sem_take(&motor_wake, K_FOREVER);

		k_spinlock_key_t key = k_spin_lock(&motor_lock);
		bool new_command = seen_generation != command_generation;

		command = latest_command;
		seen_generation = command_generation;
		k_spin_unlock(&motor_lock, key);

		uint32_t ticks = k_timer_status_get(&control_timer);
		int32_t sample_ms = ENC_PERIOD_MS;
		if (ticks > 0) {
			int64_t now = k_uptime_get();

			sample_ms = (int32_t)(now - last_sample_ms);
			last_sample_ms = now;
			if (sample_ms <= 0) {
				sample_ms = ENC_PERIOD_MS;
			}
			sensors_healthy = encoder_sample(sample_ms, &sample) == 0;
			if (sensors_healthy) {
				left_rpm = sample.left_rpm;
				right_rpm = sample.right_rpm;
			}
		}

		int32_t throttle = throttle_permille(command.throttle);
		bool clutch_pressed = pedal_pressed(command.clutch, CLUTCH_PRESSED_AT,
						CLUTCH_PRESSED_HIGH);
		bool brake_pressed = pedal_pressed(command.brake, BRAKE_PRESSED_AT,
						BRAKE_PRESSED_HIGH);

		/* A press toggles direction once, only with zero throttle and stopped wheels. */
		if (new_command) {
			if (command.valid && clutch_pressed && !clutch_was_pressed &&
			    throttle <= THROTTLE_ZERO_PERMILLE &&
			    rpm_magnitude(left_rpm) <= MOTOR_SHIFT_MAX_RPM &&
			    rpm_magnitude(right_rpm) <= MOTOR_SHIFT_MAX_RPM) {
				reverse = !reverse;
				integral_rpm_ms = 0;
				previous_error = 0;
			}
			clutch_was_pressed = clutch_pressed;
		}

		if (motor_fault || !sensors_healthy || !command.valid || brake_pressed ||
		    throttle <= THROTTLE_ZERO_PERMILLE) {
			target_rpm = 0;
			duty = 0;
			integral_rpm_ms = 0;
			previous_error = 0;
			if (motor_brake() != 0) {
				motor_fault = true;
			}
		} else if (ticks > 0 || new_command) {
			/* Both encoders contribute equally to the measured wheel speed. */
			int32_t measured_rpm = (left_rpm + right_rpm) / 2;
			int32_t directional_rpm = reverse ? -measured_rpm : measured_rpm;

			target_rpm = throttle * MOTOR_MAX_RPM / 1000;
			int32_t error = target_rpm - directional_rpm;

			if (ticks > 0) {
				integral_rpm_ms += (int64_t)error * sample_ms;
				integral_rpm_ms = CLAMP(integral_rpm_ms, -500000LL, 500000LL);
			}

			int64_t correction = (int64_t)MOTOR_KP_PERMILLE_PER_RPM * error +
				(int64_t)MOTOR_KI_PERMILLE_PER_RPM_S * integral_rpm_ms / 1000;

			if (ticks > 0) {
				correction += (int64_t)MOTOR_KD_PERMILLE_S_PER_RPM *
					(error - previous_error) * 1000 / sample_ms;
				previous_error = error;
			}
			duty = clamp_duty((int64_t)MOTOR_FF_MAX_PERMILLE * target_rpm /
					  MOTOR_MAX_RPM + correction);
			if (MOTOR_OUTPUTS_ENABLED && duty > 0) {
				if (motor_drive(reverse, duty) != 0) {
					motor_fault = true;
					motor_brake();
				}
			} else {
				motor_brake();
			}
		}

		key = k_spin_lock(&motor_lock);
		latest_telemetry = (struct motor_telemetry) {
			.left_position = sample.left_position,
			.right_position = sample.right_position,
			.left_rpm = left_rpm,
			.right_rpm = right_rpm,
			.target_rpm = target_rpm,
			.duty_permille = duty,
			.reverse = reverse,
		};
		k_spin_unlock(&motor_lock, key);
	}
}

K_THREAD_DEFINE(motor_tid, 2048, motor_thread, NULL, NULL, NULL, 0, 0, 0);
```

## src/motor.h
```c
#ifndef MOTOR_H_
#define MOTOR_H_

#include <stdbool.h>
#include <stdint.h>

struct motor_command {
	uint16_t throttle;
	uint16_t brake;
	uint8_t clutch;
	bool valid;
};

struct motor_telemetry {
	int32_t left_position;
	int32_t right_position;
	int32_t left_rpm;
	int32_t right_rpm;
	int32_t target_rpm;
	int32_t duty_permille;
	bool reverse;
};

/* Accept a command only when all pedal values are in range.
 * Returns false and requests braking for invalid or link-down commands. */
bool motor_submit(struct motor_command command);
void motor_get_telemetry(struct motor_telemetry *telemetry);

#endif
```
